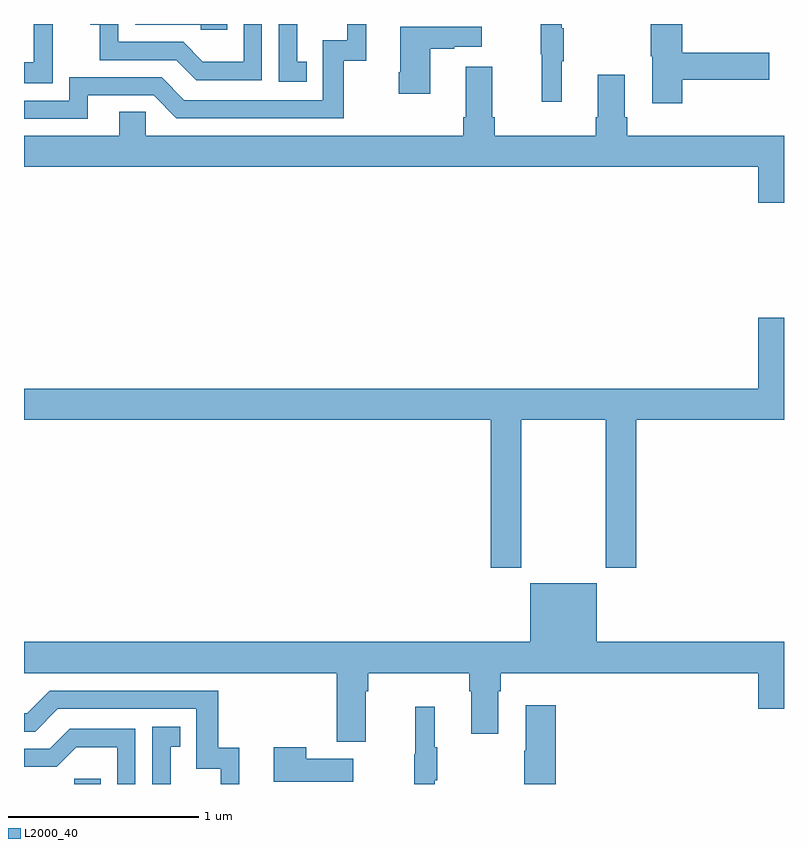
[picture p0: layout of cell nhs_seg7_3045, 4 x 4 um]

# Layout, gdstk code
import gdstk
lib = gdstk.Library(unit=1e-6, precision=1e-09)
def R(c, l, rs):  # rectangles x0, y0, x1, y1
    for r in rs: c.add(gdstk.rectangle(r[:2], r[2:], *l))
def P(c, l, *ps):  # polygons
    for p in ps: c.add(gdstk.Polygon(p, *l))
L2000_40 = (2000, 40)

nhs_seg7_3045 = lib.new_cell('nhs_seg7_3045')
R(nhs_seg7_3045, L2000_40, [(305.265,1032,305.405,1032.027)])
P(nhs_seg7_3045, L2000_40, [(306.488,1035.801),(306.439,1035.801),(306.439,1036),(306.342,1036),(306.342,1035.696),(306.488,1035.696)],
  [(308.465,1035.706),(308.923,1035.706),(308.923,1035.848),(308.465,1035.848),(308.465,1036),(308.299,1036),(308.299,1035.831),(308.306,1035.831),(308.306,1035.582),(308.465,1035.582)],
  [(307.829,1035.803),(307.84,1035.803),(307.84,1035.977),(307.829,1035.977),(307.829,1036),(307.719,1036),(307.719,1035.84),(307.726,1035.84),(307.726,1035.591),(307.829,1035.591)],
  [(306.252,1036),(306.156,1036),(306.156,1035.802),(305.942,1035.802),(305.838,1035.906),(305.496,1035.906),(305.496,1036),(305.349,1036),(305.349,1035.995),(305.398,1035.995),(305.398,1035.81),(305.801,1035.81),(305.906,1035.705),(306.252,1035.705)],
  [(305.151,1035.895),(305.15,1035.895),(305.15,1036),(305.051,1036),(305.051,1035.799),(305,1035.799),(305,1035.689),(305.151,1035.689)],
  [(306.071,1036),(305.586,1036),(305.586,1035.996),(305.931,1035.996),(305.931,1035.969),(306.071,1035.969)],
  [(305.335,1035.624),(305.682,1035.624),(305.802,1035.504),(306.682,1035.504),(306.682,1035.807),(306.8,1035.807),(306.8,1036),(306.702,1036),(306.702,1035.915),(306.573,1035.915),(306.573,1035.6),(305.844,1035.6),(305.724,1035.72),(305.238,1035.72),(305.238,1035.597),(305,1035.597),(305,1035.501),(305.335,1035.501)],
  [(307.138,1035.871),(307.265,1035.871),(307.265,1035.881),(307.408,1035.881),(307.408,1035.985),(306.98,1035.985),(306.98,1035.745),(306.973,1035.745),(306.973,1035.632),(307.138,1035.632)],
  [(309,1035.412),(308.174,1035.412),(308.174,1035.508),(308.161,1035.508),(308.161,1035.733),(308.021,1035.733),(308.021,1035.508),(308.009,1035.508),(308.009,1035.412),(307.478,1035.412),(307.478,1035.508),(307.465,1035.508),(307.465,1035.775),(307.325,1035.775),(307.325,1035.508),(307.313,1035.508),(307.313,1035.412),(305.64,1035.412),(305.64,1035.539),(305.501,1035.539),(305.501,1035.412),(305,1035.412),(305,1035.248),(308.864,1035.248),(308.864,1035.06),(309,1035.06)],
  [(307.617,1033.916),(308.062,1033.916),(308.062,1033.137),(308.222,1033.137),(308.222,1033.916),(309,1033.916),(309,1034.455),(308.864,1034.455),(308.864,1034.08),(305,1034.08),(305,1033.916),(307.457,1033.916),(307.457,1033.137),(307.617,1033.137)],
  [(305,1032.584),(306.647,1032.584),(306.647,1032.222),(306.799,1032.222),(306.799,1032.488),(306.812,1032.488),(306.812,1032.584),(307.343,1032.584),(307.343,1032.488),(307.355,1032.488),(307.355,1032.264),(307.495,1032.264),(307.495,1032.488),(307.508,1032.488),(307.508,1032.584),(308.864,1032.584),(308.864,1032.396),(309,1032.396),(309,1032.748),(308.014,1032.748),(308.014,1033.057),(307.664,1033.057),(307.664,1032.748),(305,1032.748)],
  [(306.134,1032.19),(306.023,1032.19),(306.023,1032.492),(305.136,1032.492),(305.016,1032.372),(305,1032.372),(305,1032.276),(305.058,1032.276),(305.178,1032.396),(305.907,1032.396),(305.907,1032.081),(306.036,1032.081),(306.036,1032),(306.134,1032)],
  [(307.799,1032.415),(307.64,1032.415),(307.64,1032.176),(307.633,1032.176),(307.633,1032),(307.799,1032)],
  [(307.163,1032.019),(307.174,1032.019),(307.174,1032.193),(307.163,1032.193),(307.163,1032.406),(307.06,1032.406),(307.06,1032.156),(307.053,1032.156),(307.053,1032),(307.163,1032)],
  [(305.773,1032.195),(305.822,1032.195),(305.822,1032.301),(305.676,1032.301),(305.676,1032),(305.773,1032)],
  [(305.586,1032.291),(305.24,1032.291),(305.135,1032.186),(305,1032.186),(305,1032.09),(305.172,1032.09),(305.276,1032.194),(305.49,1032.194),(305.49,1032),(305.586,1032)],
  [(306.733,1032.133),(306.485,1032.133),(306.485,1032.193),(306.314,1032.193),(306.314,1032.011),(306.733,1032.011)])

lib.write_gds('nhs_seg7_3045.gds')
